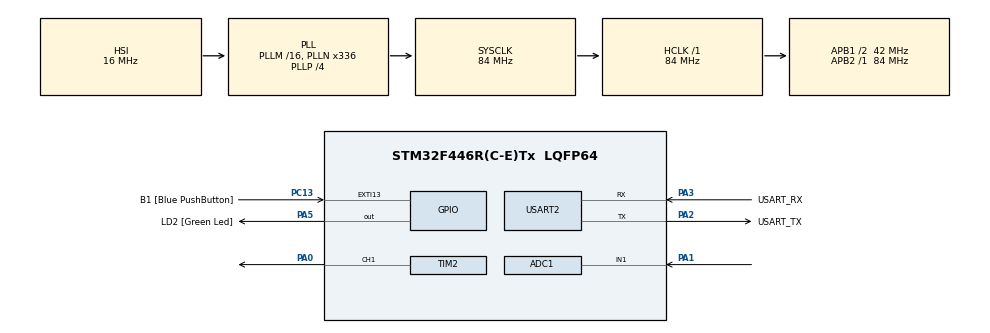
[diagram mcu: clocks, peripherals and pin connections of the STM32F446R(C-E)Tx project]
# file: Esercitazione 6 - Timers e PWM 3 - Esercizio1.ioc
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Mcu.Family=STM32F4
PH0-OSC_IN.Signal=RCC_OSC_IN
RCC.CortexFreq_Value=84000000
ADC1.ContinuousConvMode=ENABLE
PA14.GPIO_Label=TCK
PC13.GPIO_Label=B1 [Blue PushButton]
RCC.SYSCLKSource=RCC_SYSCLKSOURCE_PLLCLK
ProjectManager.StackSize=0x400
RCC.HCLKFreq_Value=84000000
ADC1.Resolution=ADC_RESOLUTION_8B
RCC.APB2TimFreq_Value=84000000
ADC1.InjNumberOfConversion=1
RCC.AHBFreq_Value=84000000
PH0-OSC_IN.Mode=HSE-External-Oscillator
ADC1.Channel-0\#ChannelRegularConversion=ADC_CHANNEL_1
RCC.HSE_VALUE=8000000
ADC1.ScanConvMode=ENABLE
PC14-OSC32_IN.Mode=LSE-External-Oscillator
PA14.Mode=Serial_Wire
TIM2.Channel-PWM\ Generation1\ CH1=TIM_CHANNEL_1
ADC1.SamplingTime-0\#ChannelRegularConversion=ADC_SAMPLETIME_3CYCLES
RCC.FLatency-AdvancedSettings=FLASH_LATENCY_2
PH1-OSC_OUT.Mode=HSE-External-Oscillator
Mcu.Package=LQFP64
TIM2.Prescaler=839
USART2.VirtualMode=VM_ASYNC
ADC1.SamplingTime-1\#ChannelInjectedConversion=ADC_SAMPLETIME_3CYCLES
PA2.GPIO_Label=USART_TX
SH.ADCx_IN1.0=ADC1_IN1,IN1
RCC.APB1TimFreq_Value=84000000
PA3.Signal=USART2_RX
PB3.GPIO_Label=SWO
PC15-OSC32_OUT.Mode=LSE-External-Oscillator
ADC1.Rank-0\#ChannelRegularConversion=1
PC13.Signal=GPXTI13
RCC.APB1CLKDivider=RCC_HCLK_DIV2
PC14-OSC32_IN.Signal=RCC_OSC32_IN
PA0-WKUP.Signal=S_TIM2_CH1_ETR
PA13.Signal=SYS_JTMS-SWDIO
PA3.Mode=Asynchronous
ProjectManager.TargetToolchain=STM32CubeIDE
ADC1.Channel-1\#ChannelInjectedConversion=ADC_CHANNEL_1
RCC.USBFreq_Value=168000000
PC15-OSC32_OUT.Signal=RCC_OSC32_OUT
PA1.Signal=ADCx_IN1
PA5.Signal=GPIO_Output
board=NUCLEO-F446RE
RCC.VCOOutputFreq_Value=336000000
RCC.APB2Freq_Value=84000000
VP_TIM2_VS_ClockSourceINT.Mode=Internal
ADC1.InjectedOffset-1\#ChannelInjectedConversion=0
PH1-OSC_OUT.Signal=RCC_OSC_OUT
TIM2.Period=999
PA13.Mode=Serial_Wire
Mcu.Name=STM32F446R(C-E)Tx
PA13.GPIO_Label=TMS
PA2.Signal=USART2_TX
RCC.48MHZClocksFreq_Value=84000000
PB3.Signal=SYS_JTDO-SWO
RCC.SYSCLKFreq_VALUE=84000000
ADC1.master=1
PA5.GPIO_Label=LD2 [Green Led]
PC13.GPIO_ModeDefaultEXTI=GPIO_MODE_IT_FALLING
SH.S_TIM2_CH1_ETR.0=TIM2_CH1,PWM Generation1 CH1
PA14.Signal=SYS_JTCK-SWCLK
ProjectManager.HeapSize=0x200
RCC.HSI_VALUE=16000000
RCC.PLLP=RCC_PLLP_DIV4
NVIC.PriorityGroup=NVIC_PRIORITYGROUP_0
ADC1.NbrOfConversionFlag=1
RCC.PLLN=336
PA2.Mode=Asynchronous
ADC1.InjectedRank-1\#ChannelInjectedConversion=1
RCC.APB1Freq_Value=42000000
PA3.GPIO_Label=USART_RX

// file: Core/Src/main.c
/* USER CODE BEGIN Header */
/**
  ******************************************************************************
  * @file           : main.c
  * @brief          : Main program body
  ******************************************************************************
  * @attention
  *
  * <h2><center>&copy; Copyright (c) 2021 STMicroelectronics.
  * All rights reserved.</center></h2>
  *
  * This software component is licensed by ST under BSD 3-Clause license,
  * the "License"; You may not use this file except in compliance with the
  * License. You may obtain a copy of the License at:
  *                        opensource.org/licenses/BSD-3-Clause
  *
  ******************************************************************************
  */
/* USER CODE END Header */
#include "main.h"

/* USER CODE BEGIN Includes */
#include "custom_lib/ADC_sensor.h"

/* USER CODE END Includes */

ADC_HandleTypeDef hadc1;

TIM_HandleTypeDef htim2;

UART_HandleTypeDef huart2;

/* USER CODE BEGIN PV */
ADC_ChannelConfTypeDef sConfig = {0};

uint16_t dutyCycle;
uint8_t pot;
uint16_t duty_val;

/* USER CODE END PV */

void SystemClock_Config(void);
static void MX_GPIO_Init(void);
static void MX_USART2_UART_Init(void);
static void MX_ADC1_Init(void);
static void MX_TIM2_Init(void);

int main(void)
{

  /* MCU Configuration--------------------------------------------------------*/

  /* Reset of all peripherals, Initializes the Flash interface and the Systick. */
  HAL_Init();

  /* Configure the system clock */
  SystemClock_Config();

  /* Initialize all configured peripherals */
  MX_GPIO_Init();
  MX_USART2_UART_Init();
  MX_ADC1_Init();
  MX_TIM2_Init();
  /* USER CODE BEGIN 2 */
  HAL_ADC_Start(&hadc1);
  HAL_TIM_PWM_Start(&htim2, TIM_CHANNEL_1);
  dutyCycle = HAL_TIM_ReadCapturedValue(&htim2, TIM_CHANNEL_1);

  /* USER CODE END 2 */

  /* Infinite loop */
  while (1)
  {

    /* USER CODE BEGIN 3 */
	  // Polling mode
	  HAL_ADC_PollForConversion(&hadc1, 10);
	  // Read the analog input value
	  pot = getADCraw(&hadc1, &sConfig, ADC_CHANNEL_1, 1, ADC_SAMPLETIME_28CYCLES);
	  dutyCycle = pot * 100/255;
	  if(dutyCycle > 100){
		  dutyCycle = 100;
	  }

	  if(dutyCycle < 0){
		  dutyCycle = 0;
	  }
      __HAL_TIM_SET_COMPARE(&htim2, TIM_CHANNEL_1, dutyCycle);

      duty_val = __HAL_TIM_GET_COMPARE(&htim2, TIM_CHANNEL_1); // controllo

  }
  /* USER CODE END 3 */
}

void SystemClock_Config(void)
{
  RCC_OscInitTypeDef RCC_OscInitStruct = {0};
  RCC_ClkInitTypeDef RCC_ClkInitStruct = {0};

  /** Configure the main internal regulator output voltage
  */
  __HAL_RCC_PWR_CLK_ENABLE();
  __HAL_PWR_VOLTAGESCALING_CONFIG(PWR_REGULATOR_VOLTAGE_SCALE3);
  /** Initializes the RCC Oscillators according to the specified parameters
  * in the RCC_OscInitTypeDef structure.
  */
  RCC_OscInitStruct.OscillatorType = RCC_OSCILLATORTYPE_HSI;
  RCC_OscInitStruct.HSIState = RCC_HSI_ON;
  RCC_OscInitStruct.HSICalibrationValue = RCC_HSICALIBRATION_DEFAULT;
  RCC_OscInitStruct.PLL.PLLState = RCC_PLL_ON;
  RCC_OscInitStruct.PLL.PLLSource = RCC_PLLSOURCE_HSI;
  RCC_OscInitStruct.PLL.PLLM = 16;
  RCC_OscInitStruct.PLL.PLLN = 336;
  RCC_OscInitStruct.PLL.PLLP = RCC_PLLP_DIV4;
  RCC_OscInitStruct.PLL.PLLQ = 2;
  RCC_OscInitStruct.PLL.PLLR = 2;
  if (HAL_RCC_OscConfig(&RCC_OscInitStruct) != HAL_OK)
  {
    Error_Handler();
  }
  /** Initializes the CPU, AHB and APB buses clocks
  */
  RCC_ClkInitStruct.ClockType = RCC_CLOCKTYPE_HCLK|RCC_CLOCKTYPE_SYSCLK
                              |RCC_CLOCKTYPE_PCLK1|RCC_CLOCKTYPE_PCLK2;
  RCC_ClkInitStruct.SYSCLKSource = RCC_SYSCLKSOURCE_PLLCLK;
  RCC_ClkInitStruct.AHBCLKDivider = RCC_SYSCLK_DIV1;
  RCC_ClkInitStruct.APB1CLKDivider = RCC_HCLK_DIV2;
  RCC_ClkInitStruct.APB2CLKDivider = RCC_HCLK_DIV1;

  if (HAL_RCC_ClockConfig(&RCC_ClkInitStruct, FLASH_LATENCY_2) != HAL_OK)
  {
    Error_Handler();
  }
}

static void MX_ADC1_Init(void)
{

  //ADC_ChannelConfTypeDef sConfig = {0};
  ADC_InjectionConfTypeDef sConfigInjected = {0};

  /** Configure the global features of the ADC (Clock, Resolution, Data Alignment and number of conversion)
  */
  hadc1.Instance = ADC1;
  hadc1.Init.ClockPrescaler = ADC_CLOCK_SYNC_PCLK_DIV4;
  hadc1.Init.Resolution = ADC_RESOLUTION_8B;
  hadc1.Init.ScanConvMode = ENABLE;
  hadc1.Init.ContinuousConvMode = ENABLE;
  hadc1.Init.DiscontinuousConvMode = DISABLE;
  hadc1.Init.ExternalTrigConvEdge = ADC_EXTERNALTRIGCONVEDGE_NONE;
  hadc1.Init.ExternalTrigConv = ADC_SOFTWARE_START;
  hadc1.Init.DataAlign = ADC_DATAALIGN_RIGHT;
  hadc1.Init.NbrOfConversion = 1;
  hadc1.Init.DMAContinuousRequests = DISABLE;
  hadc1.Init.EOCSelection = ADC_EOC_SINGLE_CONV;
  if (HAL_ADC_Init(&hadc1) != HAL_OK)
  {
    Error_Handler();
  }
  /** Configure for the selected ADC regular channel its corresponding rank in the sequencer and its sample time.
  */
//  sConfig.Channel = ADC_CHANNEL_1;
//  sConfig.Rank = 1;
//  sConfig.SamplingTime = ADC_SAMPLETIME_3CYCLES;
//  if (HAL_ADC_ConfigChannel(&hadc1, &sConfig) != HAL_OK)
//  {
//    Error_Handler();
//  }
  /** Configures for the selected ADC injected channel its corresponding rank in the sequencer and its sample time
  */
  sConfigInjected.InjectedChannel = ADC_CHANNEL_1;
  sConfigInjected.InjectedRank = 1;
  sConfigInjected.InjectedNbrOfConversion = 1;
  sConfigInjected.InjectedSamplingTime = ADC_SAMPLETIME_3CYCLES;
  sConfigInjected.ExternalTrigInjecConvEdge = ADC_EXTERNALTRIGINJECCONVEDGE_NONE;
  sConfigInjected.ExternalTrigInjecConv = ADC_INJECTED_SOFTWARE_START;
  sConfigInjected.AutoInjectedConv = DISABLE;
  sConfigInjected.InjectedDiscontinuousConvMode = DISABLE;
  sConfigInjected.InjectedOffset = 0;
  if (HAL_ADCEx_InjectedConfigChannel(&hadc1, &sConfigInjected) != HAL_OK)
  {
    Error_Handler();
  }

}

static void MX_TIM2_Init(void)
{

  TIM_ClockConfigTypeDef sClockSourceConfig = {0};
  TIM_MasterConfigTypeDef sMasterConfig = {0};
  TIM_OC_InitTypeDef sConfigOC = {0};

  htim2.Instance = TIM2;
  htim2.Init.Prescaler = 83;
  htim2.Init.CounterMode = TIM_COUNTERMODE_UP;
  htim2.Init.Period = 99;
  htim2.Init.ClockDivision = TIM_CLOCKDIVISION_DIV1;
  htim2.Init.AutoReloadPreload = TIM_AUTORELOAD_PRELOAD_DISABLE;
  if (HAL_TIM_Base_Init(&htim2) != HAL_OK)
  {
    Error_Handler();
  }
  sClockSourceConfig.ClockSource = TIM_CLOCKSOURCE_INTERNAL;
  if (HAL_TIM_ConfigClockSource(&htim2, &sClockSourceConfig) != HAL_OK)
  {
    Error_Handler();
  }
  if (HAL_TIM_PWM_Init(&htim2) != HAL_OK)
  {
    Error_Handler();
  }
  sMasterConfig.MasterOutputTrigger = TIM_TRGO_RESET;
  sMasterConfig.MasterSlaveMode = TIM_MASTERSLAVEMODE_DISABLE;
  if (HAL_TIMEx_MasterConfigSynchronization(&htim2, &sMasterConfig) != HAL_OK)
  {
    Error_Handler();
  }
  sConfigOC.OCMode = TIM_OCMODE_PWM1;
  sConfigOC.Pulse = 100;
  sConfigOC.OCPolarity = TIM_OCPOLARITY_HIGH;
  sConfigOC.OCFastMode = TIM_OCFAST_DISABLE;
  if (HAL_TIM_PWM_ConfigChannel(&htim2, &sConfigOC, TIM_CHANNEL_1) != HAL_OK)
  {
    Error_Handler();
  }
  HAL_TIM_MspPostInit(&htim2);

}

static void MX_USART2_UART_Init(void)
{

  huart2.Instance = USART2;
  huart2.Init.BaudRate = 115200;
  huart2.Init.WordLength = UART_WORDLENGTH_8B;
  huart2.Init.StopBits = UART_STOPBITS_1;
  huart2.Init.Parity = UART_PARITY_NONE;
  huart2.Init.Mode = UART_MODE_TX_RX;
  huart2.Init.HwFlowCtl = UART_HWCONTROL_NONE;
  huart2.Init.OverSampling = UART_OVERSAMPLING_16;
  if (HAL_UART_Init(&huart2) != HAL_OK)
  {
    Error_Handler();
  }

}

static void MX_GPIO_Init(void)
{
  GPIO_InitTypeDef GPIO_InitStruct = {0};

  /* GPIO Ports Clock Enable */
  __HAL_RCC_GPIOC_CLK_ENABLE();
  __HAL_RCC_GPIOH_CLK_ENABLE();
  __HAL_RCC_GPIOA_CLK_ENABLE();
  __HAL_RCC_GPIOB_CLK_ENABLE();

  /*Configure GPIO pin Output Level */
  HAL_GPIO_WritePin(LD2_GPIO_Port, LD2_Pin, GPIO_PIN_RESET);

  /*Configure GPIO pin : B1_Pin */
  GPIO_InitStruct.Pin = B1_Pin;
  GPIO_InitStruct.Mode = GPIO_MODE_IT_FALLING;
  GPIO_InitStruct.Pull = GPIO_NOPULL;
  HAL_GPIO_Init(B1_GPIO_Port, &GPIO_InitStruct);

  /*Configure GPIO pin : LD2_Pin */
  GPIO_InitStruct.Pin = LD2_Pin;
  GPIO_InitStruct.Mode = GPIO_MODE_OUTPUT_PP;
  GPIO_InitStruct.Pull = GPIO_NOPULL;
  GPIO_InitStruct.Speed = GPIO_SPEED_FREQ_LOW;
  HAL_GPIO_Init(LD2_GPIO_Port, &GPIO_InitStruct);

}

void Error_Handler(void)
{
  __disable_irq();
  while (1)
  {
  }
}

/************************ (C) COPYRIGHT STMicroelectronics *****END OF FILE****/
